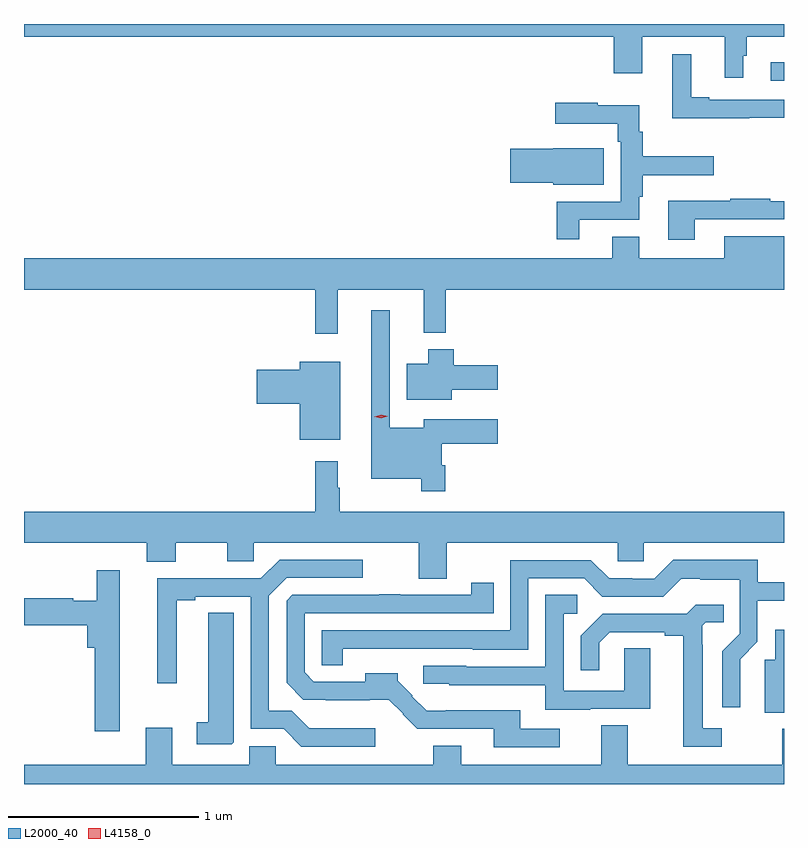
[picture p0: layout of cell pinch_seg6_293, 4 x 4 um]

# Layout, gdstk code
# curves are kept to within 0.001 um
import gdstk
lib = gdstk.Library(unit=1e-6, precision=1e-09)
def R(c, l, rs):  # rectangles x0, y0, x1, y1
    for r in rs: c.add(gdstk.rectangle(r[:2], r[2:], *l))
def P(c, l, *ps):  # polygons
    for p in ps: c.add(gdstk.Polygon(p, *l))
L2000_40 = (2000, 40)
L4158_0 = (4158, 0)

pinch_seg6_293 = lib.new_cell('pinch_seg6_293')
R(pinch_seg6_293, L2000_40, [(773.007,977.739,773.078,977.836)])
P(pinch_seg6_293, L2000_40, [(772.864,977.871),(772.883,977.871),(772.883,977.972),(773.078,977.972),(773.078,978.038),(769.078,978.038),(769.078,977.972),(772.181,977.972),(772.181,977.778),(772.333,977.778),(772.333,977.972),(772.766,977.972),(772.766,977.754),(772.864,977.754)],
  [(772.894,977.544),(773.078,977.544),(773.078,977.64),(772.684,977.64),(772.684,977.653),(772.589,977.653),(772.589,977.878),(772.49,977.878),(772.49,977.543),(772.894,977.543)],
  [(772,977.007),(772.315,977.007),(772.315,977.129),(772.334,977.129),(772.334,977.243),(772.708,977.243),(772.708,977.342),(772.334,977.342),(772.334,977.472),(772.315,977.472),(772.315,977.611),(772.098,977.611),(772.098,977.623),(771.873,977.623),(771.873,977.514),(772.203,977.514),(772.203,977.417),(772.218,977.417),(772.218,977.103),(771.883,977.103),(771.883,976.905),(772,976.905)],
  [(772.128,977.385),(771.864,977.385),(771.864,977.381),(771.636,977.381),(771.636,977.203),(771.864,977.203),(771.864,977.192),(772.128,977.192)],
  [(772.609,977.01),(773.078,977.01),(773.078,977.106),(773.006,977.106),(773.006,977.119),(772.795,977.119),(772.795,977.107),(772.469,977.107),(772.469,976.902),(772.609,976.902)],
  [(770.729,976.64),(771.182,976.64),(771.182,976.412),(771.299,976.412),(771.299,976.64),(773.078,976.64),(773.078,976.921),(772.763,976.921),(772.763,976.804),(772.315,976.804),(772.315,976.918),(772.175,976.918),(772.175,976.804),(769.078,976.804),(769.078,976.64),(770.611,976.64),(770.611,976.407),(770.729,976.407)],
  [(771.296,975.716),(771.277,975.716),(771.277,975.829),(771.571,975.829),(771.571,975.958),(771.182,975.958),(771.182,975.913),(771.003,975.913),(771.003,976.531),(770.906,976.531),(770.906,975.644),(771.168,975.644),(771.168,975.579),(771.296,975.579)],
  [(771.328,976.112),(771.571,976.112),(771.571,976.242),(771.341,976.242),(771.341,976.327),(771.206,976.327),(771.206,976.249),(771.092,976.249),(771.092,976.061),(771.328,976.061)],
  [(770.743,976.261),(770.528,976.261),(770.528,976.218),(770.304,976.218),(770.304,976.04),(770.528,976.04),(770.528,975.851),(770.743,975.851)],
  [(771.303,975.308),(772.203,975.308),(772.203,975.21),(772.341,975.21),(772.341,975.308),(773.078,975.308),(773.078,975.472),(770.74,975.472),(770.74,975.596),(770.728,975.596),(770.728,975.736),(770.611,975.736),(770.611,975.472),(769.078,975.472),(769.078,975.308),(769.724,975.308),(769.724,975.209),(769.876,975.209),(769.876,975.308),(770.147,975.308),(770.147,975.21),(770.286,975.21),(770.286,975.308),(771.155,975.308),(771.155,975.118),(771.303,975.118)],
  [(770.926,974.332),(770.579,974.332),(770.488,974.423),(770.367,974.423),(770.367,975.03),(770.46,975.123),(770.86,975.123),(770.86,975.219),(770.423,975.219),(770.324,975.12),(769.778,975.12),(769.778,974.568),(769.882,974.568),(769.882,975.004),(769.978,975.004),(769.978,975.024),(770.271,975.024),(770.271,974.328),(770.445,974.328),(770.538,974.235),(770.926,974.235)],
  [(772.848,974.588),(772.847,974.694),(772.938,974.786),(772.938,975.002),(773.078,975.002),(773.078,975.099),(772.939,975.099),(772.939,975.217),(772.495,975.217),(772.395,975.117),(772.278,975.117),(772.278,975.12),(772.158,975.12),(772.062,975.216),(771.636,975.216),(771.636,974.847),(770.646,974.847),(770.646,974.662),(770.755,974.662),(770.755,974.75),(771.441,974.751),(771.441,974.744),(771.732,974.744),(771.732,975.12),(772.026,975.12),(772.122,975.024),(772.443,975.024),(772.536,975.117),(772.636,975.117),(772.636,975.113),(772.845,975.113),(772.845,974.829),(772.752,974.736),(772.752,974.442),(772.848,974.442)],
  [(769.582,975.163),(769.46,975.163),(769.46,975.003),(769.338,975.003),(769.338,975.015),(769.078,975.015),(769.078,974.873),(769.412,974.873),(769.412,974.756),(769.451,974.756),(769.451,974.316),(769.582,974.316)],
  [(771.898,974.328),(771.691,974.328),(771.691,974.425),(771.298,974.425),(771.298,974.423),(771.197,974.423),(771.12,974.499),(771.123,974.502),(771.044,974.581),(771.044,974.62),(770.873,974.62),(770.873,974.577),(770.604,974.577),(770.556,974.625),(770.556,974.937),(771.551,974.937),(771.551,975.097),(771.433,975.097),(771.433,975.033),(771.059,975.033),(771.059,975.038),(770.947,975.038),(770.947,975.033),(770.49,975.033),(770.46,975.003),(770.46,974.571),(770.549,974.482),(770.665,974.482),(770.665,974.48),(770.999,974.481),(771.073,974.407),(771.071,974.405),(771.147,974.328),(771.551,974.328),(771.551,974.232),(771.898,974.232)],
  [(772.057,974.433),(772.375,974.433),(772.375,974.753),(772.236,974.753),(772.236,974.529),(771.918,974.529),(771.918,974.934),(771.991,974.934),(771.991,975.035),(771.822,975.035),(771.822,974.655),(771.405,974.655),(771.405,974.661),(771.18,974.661),(771.18,974.565),(771.315,974.565),(771.315,974.558),(771.821,974.558),(771.821,974.429),(772.057,974.429)],
  [(772.75,974.331),(772.651,974.331),(772.651,974.771),(772.647,974.771),(772.647,974.871),(772.665,974.889),(772.76,974.889),(772.76,974.981),(772.614,974.981),(772.566,974.934),(772.124,974.934),(772.008,974.818),(772.008,974.637),(772.105,974.637),(772.105,974.781),(772.162,974.838),(772.451,974.838),(772.451,974.818),(772.547,974.818),(772.547,974.235),(772.75,974.235)],
  [(770.182,974.257),(770.182,974.939),(770.048,974.939),(770.048,974.363),(769.986,974.363),(769.986,974.247),(770.172,974.247)],
  [(773.078,974.851),(773.033,974.851),(773.033,974.691),(772.976,974.691),(772.976,974.413),(773.078,974.413)],
  [(773.078,974.328),(773.068,974.328),(773.068,974.14),(772.255,974.14),(772.255,974.348),(772.115,974.348),(772.115,974.14),(771.379,974.14),(771.379,974.239),(771.232,974.239),(771.232,974.14),(770.403,974.14),(770.403,974.238),(770.264,974.238),(770.264,974.14),(769.858,974.14),(769.858,974.335),(769.718,974.335),(769.718,974.14),(769.078,974.14),(769.078,974.038),(773.078,974.038)])
P(pinch_seg6_293, L4158_0, [(770.957,975.962),(770.922,975.971),(770.921,975.971),(770.922,975.971),(770.957,975.982),(770.993,975.974),(770.993,975.974),(770.993,975.973)])

lib.write_gds('pinch_seg6_293.gds')
